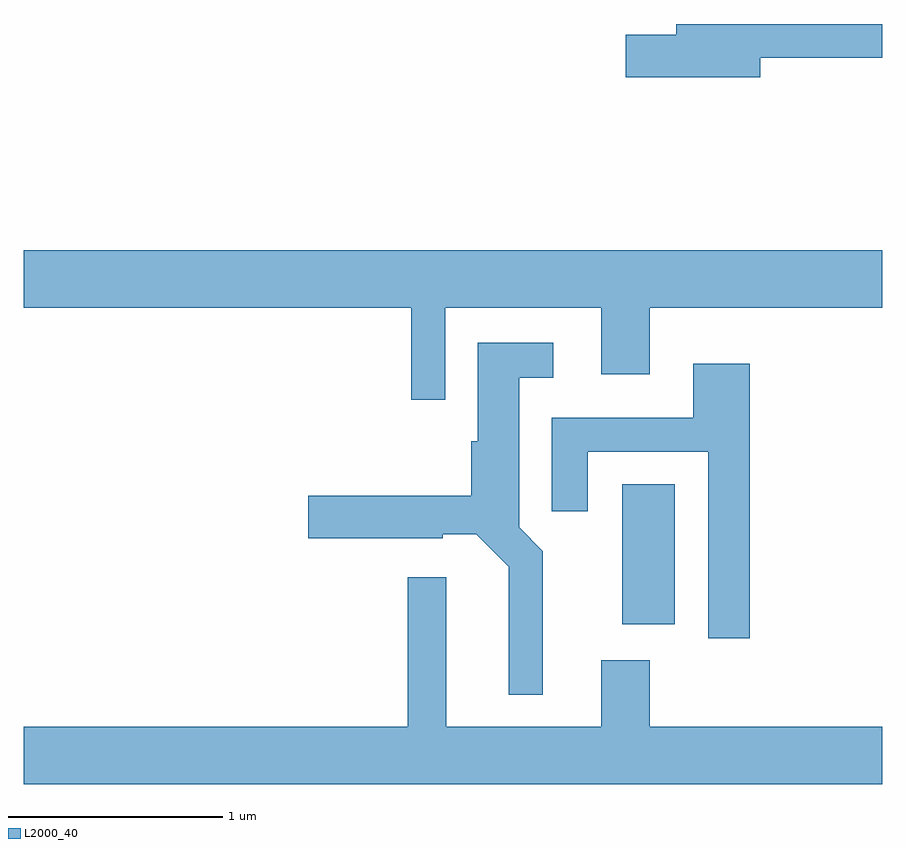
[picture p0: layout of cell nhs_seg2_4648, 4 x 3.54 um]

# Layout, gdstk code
import gdstk
lib = gdstk.Library(unit=1e-6, precision=1e-09)
def R(c, l, rs):  # rectangles x0, y0, x1, y1
    for r in rs: c.add(gdstk.rectangle(r[:2], r[2:], *l))
def P(c, l, *ps):  # polygons
    for p in ps: c.add(gdstk.Polygon(p, *l))
L2000_40 = (2000, 40)

nhs_seg2_4648 = lib.new_cell('nhs_seg2_4648')
R(nhs_seg2_4648, L2000_40, [(324.401,1066.821,324.644,1067.474)])
P(nhs_seg2_4648, L2000_40, [(325.044,1069.461),(325.611,1069.461),(325.611,1069.619),(324.651,1069.619),(324.651,1069.569),(324.416,1069.569),(324.416,1069.371),(325.044,1069.371)],
  [(323.574,1068.296),(324.301,1068.296),(324.301,1067.986),(324.529,1067.986),(324.529,1068.296),(325.611,1068.296),(325.611,1068.564),(321.611,1068.564),(321.611,1068.296),(323.416,1068.296),(323.416,1067.868),(323.574,1067.868)],
  [(324.029,1067.162),(323.919,1067.272),(323.919,1067.971),(324.078,1067.971),(324.078,1068.134),(323.726,1068.134),(323.726,1067.674),(323.696,1067.674),(323.696,1067.419),(322.936,1067.419),(322.936,1067.221),(323.564,1067.221),(323.564,1067.241),(323.719,1067.241),(323.871,1067.089),(323.871,1066.493),(324.029,1066.493)],
  [(324.994,1068.034),(324.731,1068.034),(324.731,1067.784),(324.071,1067.784),(324.071,1067.348),(324.239,1067.348),(324.239,1067.626),(324.801,1067.626),(324.801,1066.756),(324.994,1066.756)],
  [(325.611,1066.344),(324.529,1066.344),(324.529,1066.654),(324.301,1066.654),(324.301,1066.344),(323.579,1066.344),(323.579,1067.039),(323.401,1067.039),(323.401,1066.344),(321.611,1066.344),(321.611,1066.076),(325.611,1066.076)])

lib.write_gds('nhs_seg2_4648.gds')
